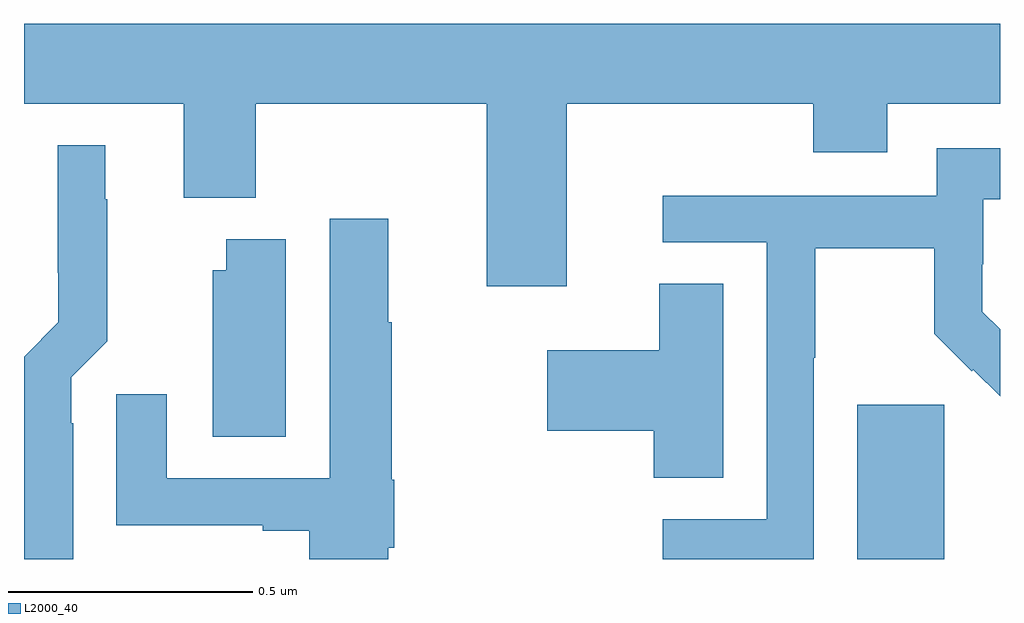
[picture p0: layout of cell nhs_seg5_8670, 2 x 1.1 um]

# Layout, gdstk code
import gdstk
lib = gdstk.Library(unit=1e-6, precision=1e-09)
def R(c, l, rs):  # rectangles x0, y0, x1, y1
    for r in rs: c.add(gdstk.rectangle(r[:2], r[2:], *l))
def P(c, l, *ps):  # polygons
    for p in ps: c.add(gdstk.Polygon(p, *l))
L2000_40 = (2000, 40)

nhs_seg5_8670 = lib.new_cell('nhs_seg5_8670')
R(nhs_seg5_8670, L2000_40, [(225.707,883.799,225.886,884.115)])
P(nhs_seg5_8670, L2000_40, [(225.112,884.732),(225.617,884.732),(225.617,884.633),(225.769,884.633),(225.769,884.732),(226,884.732),(226,884.896),(224,884.896),(224,884.732),(224.327,884.732),(224.327,884.54),(224.475,884.54),(224.475,884.732),(224.948,884.732),(224.948,884.358),(225.112,884.358)],
  [(224.101,884.078),(224.097,884.078),(224.097,884.172),(224.171,884.246),(224.171,884.537),(224.167,884.537),(224.167,884.647),(224.069,884.647),(224.069,884.386),(224.07,884.386),(224.07,884.284),(224,884.214),(224,883.799),(224.101,883.799)],
  [(225.618,884.212),(225.621,884.212),(225.621,884.436),(225.865,884.436),(225.865,884.261),(225.942,884.184),(225.945,884.187),(226,884.133),(226,884.27),(225.964,884.306),(225.964,884.403),(225.966,884.403),(225.966,884.537),(226,884.537),(226,884.641),(225.87,884.641),(225.87,884.544),(225.309,884.544),(225.309,884.448),(225.522,884.448),(225.522,883.881),(225.309,883.881),(225.309,883.799),(225.618,883.799)],
  [(224.746,883.822),(224.759,883.822),(224.759,883.962),(224.754,883.962),(224.754,884.284),(224.746,884.284),(224.746,884.497),(224.627,884.497),(224.627,883.965),(224.293,883.965),(224.293,884.137),(224.189,884.137),(224.189,883.869),(224.489,883.869),(224.489,883.857),(224.585,883.857),(224.585,883.799),(224.746,883.799)],
  [(224.536,884.455),(224.414,884.455),(224.414,884.391),(224.387,884.391),(224.387,884.05),(224.536,884.05)],
  [(225.433,884.363),(225.302,884.363),(225.302,884.227),(225.072,884.227),(225.072,884.062),(225.29,884.062),(225.29,883.966),(225.433,883.966)])

lib.write_gds('nhs_seg5_8670.gds')
